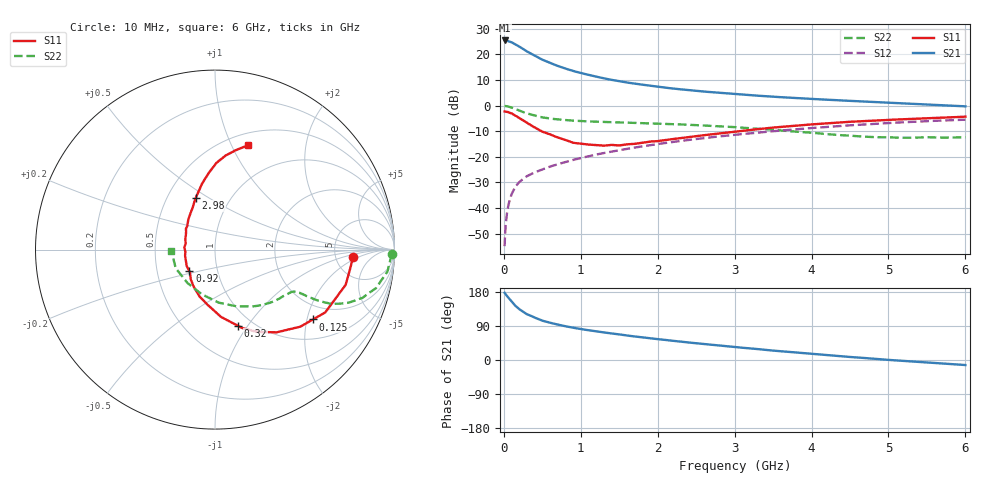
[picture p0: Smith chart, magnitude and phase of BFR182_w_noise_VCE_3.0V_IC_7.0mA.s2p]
! Infineon Technologies  Discrete & RF Semiconductors
! BFR182
! VCE =  3.0 V,  IC =  7.0 mA
! Common Emitter S-Parameters:  Nov 2015
# GHz  S  MA  R  50
!  f  S11  S21  S12  S22
! GHz  MAG  ANG  MAG  ANG  MAG  ANG  MAG  ANG
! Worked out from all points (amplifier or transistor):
!   210 points, 10 MHz to 6 GHz, reference 50 ohm
!   highest |S21| = 25.5 dB at 10 MHz (marker M1)
!   |S21| within 3 dB of that: start of sweep to 233.1 MHz
!   unconditionally stable (mu >= 1): 895.5 MHz to 2.742 GHz
!   at 185 MHz: K = 0.41, MSG = 26.9 dB, |S12| = -30.4 dB
!   at 1.52 GHz: K = 1.06, MAG = 11.9 dB, |S12| = -17.3 dB
!   at 6 GHz: K = 0.89, MSG = 2.6 dB, |S12| = -5.5 dB
!   lowest NFmin = 1.30 dB at 450 MHz
!   S11 on the Smith chart (normalised r, x): 10 MHz: 7.38, -1.51; 125 MHz: 1.54, -2.18; 320 MHz: 0.85, -0.90; 920 MHz: 0.73, -0.18; 2.98 GHz: 0.69, +0.44; 6 GHz: 0.63, +1.15
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0.01  0.7701 -3.1  18.75 177.3  0.0018 82.9  0.9868 -1.4
0.02  0.764 -6.2  18.34 174.3  0.0038 91.5  0.9799 -2.9
0.05  0.754 -15.1  18.38 166.6  0.0097 82.7  0.969 -7.2
0.1  0.7073 -29.6  17.34 154.5  0.0184 77.1  0.9228 -13.4
0.125  0.6703 -35.5  16.46 149.0  0.0222 73.5  0.8923 -15.7
0.15  0.6412 -42.0  15.75 143.0  0.0261 71.0  0.8634 -18.2
0.2  0.5755 -53.2  14.3 134.3  0.032 67.4  0.8027 -21.6
0.26  0.5045 -64.3  12.51 125.7  0.0379 65.3  0.7397 -24.1
0.3  0.4621 -70.9  11.46 120.9  0.0419 64.4  0.7061 -25.2
0.32  0.443 -73.3  11.04 119.3  0.0434 64.1  0.6924 -25.4
0.4  0.3759 -85.0  9.477 111.6  0.0495 63.2  0.6377 -26.4
0.5  0.3103 -97.6  7.899 103.8  0.0565 63.1  0.5896 -26.8
0.7  0.2394 -119.4  5.966 93.4  0.0714 64.0  0.538 -27.0
0.92  0.1866 -140.0  4.669 84.5  0.0886 64.8  0.5075 -27.5
1.02  0.1802 -151.6  4.266 81.0  0.0962 65.1  0.4978 -28.0
1.4  0.1711 175.6  3.187 70.0  0.126 65.1  0.4756 -31.2
2.02  0.2048 138.7  2.317 54.7  0.1794 62.4  0.4456 -38.7
2.98  0.3076 110.3  1.695 34.5  0.267 55.2  0.3819 -55.8
3.1  0.322 107.9  1.644 32.4  0.2782 53.9  0.3708 -58.5
4.1  0.4405 93.3  1.329 14.7  0.3742 43.4  0.2862 -89.6
5.1  0.535 82.4  1.128 -1.0  0.4659 31.2  0.2376 -134.6
6  0.6087 72.6  0.969 -13.3  0.5315 18.6  0.2429 -178.3
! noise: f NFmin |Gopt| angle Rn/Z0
0.45  1.3  0.26  40  0.29
0.9  1.45  0.25  81  0.23
1.8  2  0.21  157  0.2
